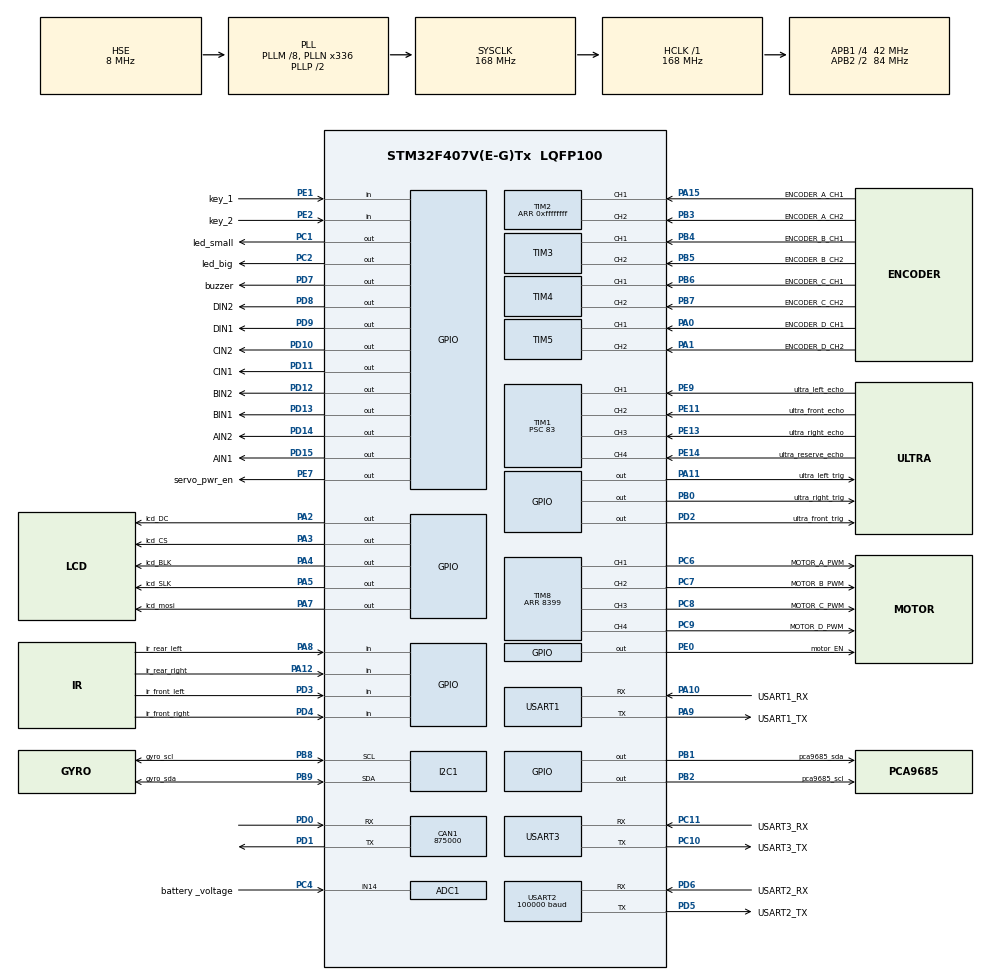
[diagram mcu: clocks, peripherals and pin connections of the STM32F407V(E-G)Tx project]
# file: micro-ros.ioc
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ADC1.Channel-0\#ChannelRegularConversion=ADC_CHANNEL_14
ADC1.NbrOfConversionFlag=1
ADC1.Rank-0\#ChannelRegularConversion=1
ADC1.SamplingTime-0\#ChannelRegularConversion=ADC_SAMPLETIME_15CYCLES
ADC1.master=1
CAN1.BS1=CAN_BS1_1TQ
CAN1.BS2=CAN_BS2_1TQ
CAN1.CalculateBaudRate=875000
CAN1.CalculateTimeBit=1142
CAN1.CalculateTimeQuantum=380.95238095238096
Dma.ADC1.0.Direction=DMA_PERIPH_TO_MEMORY
Dma.ADC1.0.FIFOMode=DMA_FIFOMODE_DISABLE
Dma.ADC1.0.Instance=DMA2_Stream0
Dma.ADC1.0.MemDataAlignment=DMA_MDATAALIGN_HALFWORD
Dma.ADC1.0.MemInc=DMA_MINC_ENABLE
Dma.ADC1.0.Mode=DMA_NORMAL
Dma.ADC1.0.PeriphDataAlignment=DMA_PDATAALIGN_HALFWORD
Dma.ADC1.0.PeriphInc=DMA_PINC_DISABLE
Dma.ADC1.0.Priority=DMA_PRIORITY_LOW
Dma.Request0=ADC1
Dma.Request1=USART3_RX
Dma.Request2=USART3_TX
Dma.USART3_RX.1.Direction=DMA_PERIPH_TO_MEMORY
Dma.USART3_RX.1.FIFOMode=DMA_FIFOMODE_DISABLE
Dma.USART3_RX.1.Instance=DMA1_Stream1
Dma.USART3_RX.1.MemDataAlignment=DMA_MDATAALIGN_BYTE
Dma.USART3_RX.1.MemInc=DMA_MINC_ENABLE
Dma.USART3_RX.1.Mode=DMA_CIRCULAR
Dma.USART3_RX.1.PeriphDataAlignment=DMA_PDATAALIGN_BYTE
Dma.USART3_RX.1.PeriphInc=DMA_PINC_DISABLE
Dma.USART3_RX.1.Priority=DMA_PRIORITY_VERY_HIGH
Dma.USART3_TX.2.Direction=DMA_MEMORY_TO_PERIPH
Dma.USART3_TX.2.FIFOMode=DMA_FIFOMODE_DISABLE
Dma.USART3_TX.2.Instance=DMA1_Stream3
Dma.USART3_TX.2.MemDataAlignment=DMA_MDATAALIGN_BYTE
Dma.USART3_TX.2.MemInc=DMA_MINC_ENABLE
Dma.USART3_TX.2.Mode=DMA_NORMAL
Dma.USART3_TX.2.PeriphDataAlignment=DMA_PDATAALIGN_BYTE
Dma.USART3_TX.2.PeriphInc=DMA_PINC_DISABLE
Dma.USART3_TX.2.Priority=DMA_PRIORITY_VERY_HIGH
FREERTOS.Mutexes01=DataMutex,Dynamic,NULL,Available;PrintMutex,Dynamic,NULL,Available
FREERTOS.Tasks01=defaultTask,24,128,StartDefaultTask,Default,NULL,Dynamic,NULL,NULL;EncoderTask,50,512,StartEncoderTask,As external,NULL,Dynamic,NULL,NULL;MotorPidTask,50,512,StartMotorPidTask,As external,NULL,Dynamic,NULL,NULL;SbusTask,51,512,StartSbusTask,As external,NULL,Dynamic,NULL,NULL;LcdTask,24,512,StartLcdTask,As external,NULL,Dynamic,NULL,NULL;UltrasonicTask,16,256,StartUltrasonicTask,As external,NULL,Dynamic,NULL,NULL;MicroRosTask,24,4000,StartMicroRosTask,Default,NULL,Dynamic,NULL,NULL
FREERTOS.configCHECK_FOR_STACK_OVERFLOW=2
FREERTOS.configENABLE_FPU=1
FREERTOS.configTIMER_TASK_PRIORITY=2
FREERTOS.configTOTAL_HEAP_SIZE=0x10000
FREERTOS.configUSE_PREEMPTION=1
Mcu.Family=STM32F4
Mcu.Name=STM32F407V(E-G)Tx
Mcu.Package=LQFP100
NVIC.DMA1_Stream1_IRQn=true\:5\:0\:false\:false\:true\:true\:false\:true\:true
NVIC.DMA1_Stream3_IRQn=true\:5\:0\:false\:false\:true\:true\:false\:true\:true
NVIC.DMA2_Stream0_IRQn=true\:5\:0\:false\:false\:true\:true\:false\:true\:true
NVIC.I2C1_ER_IRQn=true\:5\:0\:false\:false\:true\:true\:true\:true\:true
NVIC.I2C1_EV_IRQn=true\:5\:0\:false\:false\:true\:true\:true\:true\:true
NVIC.PriorityGroup=NVIC_PRIORITYGROUP_4
NVIC.RCC_IRQn=true\:5\:0\:false\:false\:true\:true\:true\:false\:true
NVIC.TIM2_IRQn=true\:5\:0\:false\:false\:true\:true\:true\:true\:true
NVIC.TIM3_IRQn=true\:5\:0\:false\:false\:true\:true\:true\:true\:true
NVIC.TIM4_IRQn=true\:5\:0\:false\:false\:true\:true\:true\:true\:true
NVIC.TIM5_IRQn=true\:5\:0\:false\:false\:true\:true\:true\:true\:true
NVIC.TIM6_DAC_IRQn=true\:15\:0\:false\:false\:true\:false\:false\:true\:true
NVIC.TIM8_UP_TIM13_IRQn=true\:5\:0\:false\:false\:true\:false\:false\:true\:true
NVIC.TimeBase=TIM6_DAC_IRQn
NVIC.TimeBaseIP=TIM6
NVIC.USART1_IRQn=true\:5\:0\:false\:false\:true\:true\:true\:true\:true
NVIC.USART2_IRQn=true\:5\:0\:false\:false\:true\:true\:true\:true\:true
NVIC.USART3_IRQn=true\:5\:0\:false\:false\:true\:true\:true\:true\:true
PA0-WKUP.GPIO_Label=ENCODER_D_CH1
PA0-WKUP.GPIO_Speed=GPIO_SPEED_FREQ_MEDIUM
PA0-WKUP.Signal=S_TIM5_CH1
PA1.GPIO_Label=ENCODER_D_CH2
PA1.GPIO_Speed=GPIO_SPEED_FREQ_MEDIUM
PA1.Signal=S_TIM5_CH2
PA10.GPIO_Label=USART1_RX
PA10.GPIO_PuPd=GPIO_PULLUP
PA10.GPIO_Speed=GPIO_SPEED_FREQ_MEDIUM
PA10.Mode=Asynchronous
PA10.Signal=USART1_RX
PA11.GPIO_Label=ultra_left_trig
PA11.GPIO_PuPd=GPIO_PULLDOWN
PA11.GPIO_Speed=GPIO_SPEED_FREQ_MEDIUM
PA11.Signal=GPIO_Output
PA12.GPIO_Label=ir_rear_right
PA12.GPIO_PuPd=GPIO_PULLUP
PA12.Signal=GPIO_Input
PA13.Mode=Serial_Wire
PA13.Signal=SYS_JTMS-SWDIO
PA14.Mode=Serial_Wire
PA14.Signal=SYS_JTCK-SWCLK
PA15.GPIO_Label=ENCODER_A_CH1
PA15.GPIO_Speed=GPIO_SPEED_FREQ_MEDIUM
PA15.Signal=S_TIM2_CH1_ETR
PA2.GPIO_Label=lcd_DC
PA2.GPIO_ModeDefaultOutputPP=GPIO_MODE_OUTPUT_PP
PA2.GPIO_PuPd=GPIO_NOPULL
PA2.GPIO_Speed=GPIO_SPEED_FREQ_MEDIUM
PA2.Signal=GPIO_Output
PA3.GPIO_Label=lcd_CS
PA3.GPIO_Speed=GPIO_SPEED_FREQ_MEDIUM
PA3.Signal=GPIO_Output
PA4.GPIO_Label=lcd_BLK
PA4.GPIO_Speed=GPIO_SPEED_FREQ_MEDIUM
PA4.Signal=GPIO_Output
PA5.GPIO_Label=lcd_SLK
PA5.GPIO_Speed=GPIO_SPEED_FREQ_MEDIUM
PA5.Signal=GPIO_Output
PA7.GPIO_Label=lcd_mosi
PA7.GPIO_Speed=GPIO_SPEED_FREQ_MEDIUM
PA7.Signal=GPIO_Output
PA8.GPIO_Label=ir_rear_left
PA8.GPIO_PuPd=GPIO_PULLUP
PA8.Signal=GPIO_Input
PA9.GPIO_Label=USART1_TX
PA9.GPIO_Speed=GPIO_SPEED_FREQ_MEDIUM
PA9.Mode=Asynchronous
PA9.Signal=USART1_TX
PB0.GPIO_Label=ultra_right_trig
PB0.GPIO_PuPd=GPIO_PULLDOWN
PB0.GPIO_Speed=GPIO_SPEED_FREQ_MEDIUM
PB0.Signal=GPIO_Output
PB1.GPIO_Label=pca9685_sda
PB1.GPIO_PuPd=GPIO_NOPULL
PB1.GPIO_Speed=GPIO_SPEED_FREQ_MEDIUM
PB1.PinState=GPIO_PIN_SET
PB1.Signal=GPIO_Output
PB2.GPIO_Label=pca9685_scl
PB2.GPIO_ModeDefaultOutputPP=GPIO_MODE_OUTPUT_PP
PB2.GPIO_PuPd=GPIO_NOPULL
PB2.GPIO_Speed=GPIO_SPEED_FREQ_MEDIUM
PB2.PinState=GPIO_PIN_SET
PB2.Signal=GPIO_Output
PB3.GPIO_Label=ENCODER_A_CH2
PB3.GPIO_Speed=GPIO_SPEED_FREQ_MEDIUM
PB3.Signal=S_TIM2_CH2
PB4.GPIO_Label=ENCODER_B_CH1
PB4.GPIO_Speed=GPIO_SPEED_FREQ_MEDIUM
PB4.Signal=S_TIM3_CH1
PB5.GPIO_Label=ENCODER_B_CH2
PB5.GPIO_Speed=GPIO_SPEED_FREQ_MEDIUM
PB5.Signal=S_TIM3_CH2
PB6.GPIO_Label=ENCODER_C_CH1
PB6.GPIO_Speed=GPIO_SPEED_FREQ_MEDIUM
PB6.Signal=S_TIM4_CH1
PB7.GPIO_Label=ENCODER_C_CH2
PB7.GPIO_Speed=GPIO_SPEED_FREQ_MEDIUM
PB7.Signal=S_TIM4_CH2
PB8.GPIO_Label=gyro_scl
PB8.GPIO_Speed=GPIO_SPEED_FREQ_MEDIUM
PB8.Mode=I2C
PB8.Signal=I2C1_SCL
PB9.GPIO_Label=gyro_sda
PB9.GPIO_Speed=GPIO_SPEED_FREQ_MEDIUM
PB9.Mode=I2C
PB9.Signal=I2C1_SDA
PC1.GPIO_Label=led_small
PC1.GPIO_Speed=GPIO_SPEED_FREQ_MEDIUM
PC1.Signal=GPIO_Output
PC10.GPIO_Label=USART3_TX
PC10.GPIO_Speed=GPIO_SPEED_FREQ_MEDIUM
PC10.Mode=Asynchronous
PC10.Signal=USART3_TX
PC11.GPIO_Label=USART3_RX
PC11.GPIO_PuPd=GPIO_PULLUP
PC11.GPIO_Speed=GPIO_SPEED_FREQ_MEDIUM
PC11.Mode=Asynchronous
PC11.Signal=USART3_RX
PC14-OSC32_IN.Mode=LSE-External-Oscillator
PC14-OSC32_IN.Signal=RCC_OSC32_IN
PC15-OSC32_OUT.Mode=LSE-External-Oscillator
PC15-OSC32_OUT.Signal=RCC_OSC32_OUT
PC2.GPIO_Label=led_big
PC2.GPIO_Speed=GPIO_SPEED_FREQ_MEDIUM
PC2.Signal=GPIO_Output
PC4.GPIO_Label=battery _voltage
PC4.Signal=ADCx_IN14
PC6.GPIO_Label=MOTOR_A_PWM
PC6.GPIO_Speed=GPIO_SPEED_FREQ_HIGH
PC6.Signal=S_TIM8_CH1
PC7.GPIO_Label=MOTOR_B_PWM
PC7.GPIO_Speed=GPIO_SPEED_FREQ_HIGH
PC7.Signal=S_TIM8_CH2
PC8.GPIO_Label=MOTOR_C_PWM
PC8.GPIO_Speed=GPIO_SPEED_FREQ_HIGH
PC8.Signal=S_TIM8_CH3
PC9.GPIO_Label=MOTOR_D_PWM
PC9.GPIO_Speed=GPIO_SPEED_FREQ_HIGH
PC9.Signal=S_TIM8_CH4
PD0.GPIO_Speed=GPIO_SPEED_FREQ_MEDIUM
PD0.Mode=CAN_Activate
PD0.Signal=CAN1_RX
PD1.GPIO_Speed=GPIO_SPEED_FREQ_MEDIUM
PD1.Mode=CAN_Activate
PD1.Signal=CAN1_TX
PD10.GPIO_Label=CIN2
PD10.GPIO_Speed=GPIO_SPEED_FREQ_MEDIUM
PD10.Signal=GPIO_Output
PD11.GPIO_Label=CIN1
PD11.GPIO_Speed=GPIO_SPEED_FREQ_MEDIUM
PD11.Signal=GPIO_Output
PD12.GPIO_Label=BIN2
PD12.GPIO_Speed=GPIO_SPEED_FREQ_MEDIUM
PD12.Signal=GPIO_Output
PD13.GPIO_Label=BIN1
PD13.GPIO_Speed=GPIO_SPEED_FREQ_MEDIUM
PD13.Signal=GPIO_Output
PD14.GPIO_Label=AIN2
PD14.GPIO_Speed=GPIO_SPEED_FREQ_MEDIUM
PD14.Signal=GPIO_Output
PD15.GPIO_Label=AIN1
PD15.GPIO_Speed=GPIO_SPEED_FREQ_MEDIUM
PD15.Signal=GPIO_Output
PD2.GPIO_Label=ultra_front_trig
PD2.GPIO_PuPd=GPIO_PULLDOWN
PD2.GPIO_Speed=GPIO_SPEED_FREQ_MEDIUM
PD2.Signal=GPIO_Output
PD3.GPIO_Label=ir_front_left
PD3.GPIO_PuPd=GPIO_PULLUP
PD3.Signal=GPIO_Input
PD4.GPIO_Label=ir_front_right
PD4.GPIO_PuPd=GPIO_PULLUP
PD4.Signal=GPIO_Input
PD5.GPIO_Label=USART2_TX
PD5.GPIO_Speed=GPIO_SPEED_FREQ_MEDIUM
PD5.Mode=Asynchronous
PD5.Signal=USART2_TX
PD6.GPIO_Label=USART2_RX
PD6.GPIO_PuPd=GPIO_PULLUP
PD6.GPIO_Speed=GPIO_SPEED_FREQ_MEDIUM
PD6.Mode=Asynchronous
PD6.Signal=USART2_RX
PD7.GPIO_Label=buzzer
PD7.GPIO_ModeDefaultOutputPP=GPIO_MODE_OUTPUT_OD
PD7.GPIO_PuPd=GPIO_NOPULL
PD7.GPIO_Speed=GPIO_SPEED_FREQ_MEDIUM
PD7.PinState=GPIO_PIN_SET
PD7.Signal=GPIO_Output
PD8.GPIO_Label=DIN2
PD8.GPIO_Speed=GPIO_SPEED_FREQ_MEDIUM
PD8.Signal=GPIO_Output
PD9.GPIO_Label=DIN1
PD9.GPIO_Speed=GPIO_SPEED_FREQ_MEDIUM
PD9.Signal=GPIO_Output
PE0.GPIO_Label=motor_EN
PE0.GPIO_Speed=GPIO_SPEED_FREQ_MEDIUM
PE0.Signal=GPIO_Output
PE1.GPIO_Label=key_1
PE1.GPIO_PuPd=GPIO_PULLUP
PE1.Signal=GPIO_Input
PE11.GPIO_Label=ultra_front_echo
PE11.GPIO_Speed=GPIO_SPEED_FREQ_HIGH
PE11.Signal=S_TIM1_CH2
PE13.GPIO_Label=ultra_right_echo
PE13.GPIO_Speed=GPIO_SPEED_FREQ_HIGH
PE13.Signal=S_TIM1_CH3
PE14.GPIO_Label=ultra_reserve_echo
PE14.GPIO_Speed=GPIO_SPEED_FREQ_HIGH
PE14.Signal=S_TIM1_CH4
PE2.GPIO_Label=key_2
PE2.GPIO_PuPd=GPIO_PULLUP
PE2.Signal=GPIO_Input
PE7.GPIO_Label=servo_pwr_en
PE7.GPIO_Speed=GPIO_SPEED_FREQ_MEDIUM
PE7.Signal=GPIO_Output
PE9.GPIO_Label=ultra_left_echo
PE9.GPIO_Speed=GPIO_SPEED_FREQ_HIGH
PE9.Signal=S_TIM1_CH1
PH0-OSC_IN.Mode=HSE-External-Oscillator
PH0-OSC_IN.Signal=RCC_OSC_IN
PH1-OSC_OUT.Mode=HSE-External-Oscillator
PH1-OSC_OUT.Signal=RCC_OSC_OUT
ProjectManager.HeapSize=0x200
ProjectManager.StackSize=0x400
ProjectManager.TargetToolchain=Makefile
RCC.48MHZClocksFreq_Value=84000000
RCC.AHBFreq_Value=168000000
RCC.APB1CLKDivider=RCC_HCLK_DIV4
RCC.APB1Freq_Value=42000000
RCC.APB1TimFreq_Value=84000000
RCC.APB2CLKDivider=RCC_HCLK_DIV2
RCC.APB2Freq_Value=84000000
RCC.APB2TimFreq_Value=168000000
RCC.CortexFreq_Value=168000000
RCC.HCLKFreq_Value=168000000
RCC.HSE_VALUE=8000000
RCC.HSI_VALUE=16000000
RCC.PLLM=8
RCC.PLLN=336
RCC.PLLSourceVirtual=RCC_PLLSOURCE_HSE
RCC.RCC_RTC_Clock_Source=RCC_RTCCLKSOURCE_LSE
RCC.RCC_RTC_Clock_SourceVirtual=RCC_RTCCLKSOURCE_LSE
RCC.SYSCLKFreq_VALUE=168000000
RCC.SYSCLKSource=RCC_SYSCLKSOURCE_PLLCLK
RCC.VCOOutputFreq_Value=336000000
SH.ADCx_IN14.0=ADC1_IN14,IN14
SH.S_TIM1_CH1.0=TIM1_CH1,Input_Capture1_from_TI1
SH.S_TIM1_CH2.0=TIM1_CH2,Input_Capture2_from_TI2
SH.S_TIM1_CH3.0=TIM1_CH3,Input_Capture3_from_TI3
SH.S_TIM1_CH4.0=TIM1_CH4,Input_Capture4_from_TI4
SH.S_TIM2_CH1_ETR.0=TIM2_CH1,Encoder_Interface
SH.S_TIM2_CH2.0=TIM2_CH2,Encoder_Interface
SH.S_TIM3_CH1.0=TIM3_CH1,Encoder_Interface
SH.S_TIM3_CH2.0=TIM3_CH2,Encoder_Interface
SH.S_TIM4_CH1.0=TIM4_CH1,Encoder_Interface
SH.S_TIM4_CH2.0=TIM4_CH2,Encoder_Interface
SH.S_TIM5_CH1.0=TIM5_CH1,Encoder_Interface
SH.S_TIM5_CH2.0=TIM5_CH2,Encoder_Interface
SH.S_TIM8_CH1.0=TIM8_CH1,PWM Generation1 CH1
SH.S_TIM8_CH2.0=TIM8_CH2,PWM Generation2 CH2
SH.S_TIM8_CH3.0=TIM8_CH3,PWM Generation3 CH3
SH.S_TIM8_CH4.0=TIM8_CH4,PWM Generation4 CH4
TIM1.Channel-Input_Capture1_from_TI1=TIM_CHANNEL_1
TIM1.Channel-Input_Capture2_from_TI2=TIM_CHANNEL_2
TIM1.Channel-Input_Capture3_from_TI3=TIM_CHANNEL_3
TIM1.Channel-Input_Capture4_from_TI4=TIM_CHANNEL_4
TIM1.ICPolarity_CH1=TIM_INPUTCHANNELPOLARITY_BOTHEDGE
TIM1.ICPolarity_CH2=TIM_INPUTCHANNELPOLARITY_BOTHEDGE
TIM1.ICPolarity_CH3=TIM_INPUTCHANNELPOLARITY_BOTHEDGE
TIM1.ICPolarity_CH4=TIM_INPUTCHANNELPOLARITY_BOTHEDGE
TIM1.Prescaler=83
TIM2.AutoReloadPreload=TIM_AUTORELOAD_PRELOAD_ENABLE
TIM2.EncoderMode=TIM_ENCODERMODE_TI12
TIM2.IC1Filter=5
TIM2.IC2Filter=5
TIM2.Period=0xffffffff
TIM3.EncoderMode=TIM_ENCODERMODE_TI12
TIM3.IC1Filter=5
TIM3.IC2Filter=5
TIM4.EncoderMode=TIM_ENCODERMODE_TI12
TIM4.IC1Filter=5
TIM4.IC2Filter=5
TIM5.EncoderMode=TIM_ENCODERMODE_TI12
TIM5.IC1Filter=5
TIM5.IC2Filter=5
TIM8.AutoReloadPreload=TIM_AUTORELOAD_PRELOAD_ENABLE
TIM8.Channel-PWM\ Generation1\ CH1=TIM_CHANNEL_1
TIM8.Channel-PWM\ Generation2\ CH2=TIM_CHANNEL_2
TIM8.Channel-PWM\ Generation3\ CH3=TIM_CHANNEL_3
TIM8.Channel-PWM\ Generation4\ CH4=TIM_CHANNEL_4
TIM8.Period=8399
USART1.VirtualMode=VM_ASYNC
USART2.BaudRate=100000
USART2.Parity=PARITY_EVEN
USART2.StopBits=STOPBITS_2
USART2.VirtualMode=VM_ASYNC
USART3.VirtualMode=VM_ASYNC
VP_FREERTOS_VS_CMSIS_V2.Mode=CMSIS_V2
VP_RTC_VS_RTC_Activate.Mode=RTC_Enabled
VP_SYS_VS_tim6.Mode=TIM6
board=custom

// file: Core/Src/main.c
/* USER CODE BEGIN Header */
/**
  ******************************************************************************
  * @file           : main.c
  * @brief          : Main program body
  ******************************************************************************
  * @attention
  *
  * Copyright (c) 2026 STMicroelectronics.
  * All rights reserved.
  *
  * This software is licensed under terms that can be found in the LICENSE file
  * in the root directory of this software component.
  * If no LICENSE file comes with this software, it is provided AS-IS.
  *
  ******************************************************************************
  */
/* USER CODE END Header */
#include "main.h"
#include "cmsis_os.h"
#include "adc.h"
#include "can.h"
#include "dma.h"
#include "i2c.h"
#include "rtc.h"
#include "tim.h"
#include "usart.h"
#include "gpio.h"

/* USER CODE BEGIN Includes */
#include <stdarg.h>
#include <stdio.h>

/* USER CODE END Includes */

void SystemClock_Config(void);
void MX_FREERTOS_Init(void);

int main(void)
{

  /* MCU Configuration--------------------------------------------------------*/

  /* Reset of all peripherals, Initializes the Flash interface and the Systick. */
  HAL_Init();

  /* Configure the system clock */
  SystemClock_Config();

  /* Initialize all configured peripherals */
  MX_GPIO_Init();
  MX_DMA_Init();
  MX_TIM2_Init();
  MX_ADC1_Init();
  MX_CAN1_Init();
  MX_USART2_UART_Init();
  MX_TIM3_Init();
  MX_TIM4_Init();
  MX_TIM5_Init();
  MX_TIM8_Init();
  MX_USART1_UART_Init();
  MX_USART3_UART_Init();
  MX_RTC_Init();
  MX_I2C1_Init();
  MX_TIM1_Init();
  /* USER CODE BEGIN 2 */
  Debug_Print("USART3 printf test OK\r\n");
  Debug_Print("USART3: PC10 TX, PC11 RX, 115200 8N1\r\n");

  /* USER CODE END 2 */

  /* Init scheduler */
  osKernelInitialize();  /* Call init function for freertos objects (in cmsis_os2.c) */
  MX_FREERTOS_Init();

  /* Start scheduler */
  osKernelStart();

  /* We should never get here as control is now taken by the scheduler */

  /* Infinite loop */
  while (1)
  {

  }
}

void SystemClock_Config(void)
{
  RCC_OscInitTypeDef RCC_OscInitStruct = {0};
  RCC_ClkInitTypeDef RCC_ClkInitStruct = {0};

  /** Configure the main internal regulator output voltage
  */
  __HAL_RCC_PWR_CLK_ENABLE();
  __HAL_PWR_VOLTAGESCALING_CONFIG(PWR_REGULATOR_VOLTAGE_SCALE1);

  /** Initializes the RCC Oscillators according to the specified parameters
  * in the RCC_OscInitTypeDef structure.
  */
  RCC_OscInitStruct.OscillatorType = RCC_OSCILLATORTYPE_HSE|RCC_OSCILLATORTYPE_LSE;
  RCC_OscInitStruct.HSEState = RCC_HSE_ON;
  RCC_OscInitStruct.LSEState = RCC_LSE_ON;
  RCC_OscInitStruct.PLL.PLLState = RCC_PLL_ON;
  RCC_OscInitStruct.PLL.PLLSource = RCC_PLLSOURCE_HSE;
  RCC_OscInitStruct.PLL.PLLM = 8;
  RCC_OscInitStruct.PLL.PLLN = 336;
  RCC_OscInitStruct.PLL.PLLP = RCC_PLLP_DIV2;
  RCC_OscInitStruct.PLL.PLLQ = 4;
  if (HAL_RCC_OscConfig(&RCC_OscInitStruct) != HAL_OK)
  {
    Error_Handler();
  }

  /** Initializes the CPU, AHB and APB buses clocks
  */
  RCC_ClkInitStruct.ClockType = RCC_CLOCKTYPE_HCLK|RCC_CLOCKTYPE_SYSCLK
                              |RCC_CLOCKTYPE_PCLK1|RCC_CLOCKTYPE_PCLK2;
  RCC_ClkInitStruct.SYSCLKSource = RCC_SYSCLKSOURCE_PLLCLK;
  RCC_ClkInitStruct.AHBCLKDivider = RCC_SYSCLK_DIV1;
  RCC_ClkInitStruct.APB1CLKDivider = RCC_HCLK_DIV4;
  RCC_ClkInitStruct.APB2CLKDivider = RCC_HCLK_DIV2;

  if (HAL_RCC_ClockConfig(&RCC_ClkInitStruct, FLASH_LATENCY_5) != HAL_OK)
  {
    Error_Handler();
  }
}

/* USER CODE BEGIN 4 */
void Debug_Print(const char *format, ...)
{
  char buffer[256];
  va_list args;
  int length;

  va_start(args, format);
  length = vsnprintf(buffer, sizeof(buffer), format, args);
  va_end(args);

  if (length > 0)
  {
    if (length >= (int)sizeof(buffer))
    {
      length = sizeof(buffer) - 1;
    }
    HAL_UART_Transmit(&huart3, (uint8_t *)buffer, (uint16_t)length, 1000);
  }
}

/* USER CODE END 4 */

void HAL_TIM_PeriodElapsedCallback(TIM_HandleTypeDef *htim)
{
  if (htim->Instance == TIM6)
  {
    HAL_IncTick();
  }
}

void Error_Handler(void)
{
  __disable_irq();
  while (1)
  {
  }
}

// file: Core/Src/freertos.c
/* USER CODE BEGIN Header */
/**
  ******************************************************************************
  * File Name          : freertos.c
  * Description        : Code for freertos applications
  ******************************************************************************
  * @attention
  *
  * Copyright (c) 2026 STMicroelectronics.
  * All rights reserved.
  *
  * This software is licensed under terms that can be found in the LICENSE file
  * in the root directory of this software component.
  * If no LICENSE file comes with this software, it is provided AS-IS.
  *
  ******************************************************************************
  */
/* USER CODE END Header */

#include "FreeRTOS.h"
#include "task.h"
#include "main.h"
#include "cmsis_os.h"
#include "usart.h"

/* USER CODE BEGIN Includes */
#include <rcl/rcl.h>
#include <rclc/rclc.h>
#include <rmw_microros/rmw_microros.h>
#include <uxr/client/transport.h>
#include <rmw_microxrcedds_c/config.h>
#include <std_msgs/msg/int32.h>

bool cubemx_transport_open(struct uxrCustomTransport *transport);
bool cubemx_transport_close(struct uxrCustomTransport *transport);
size_t cubemx_transport_write(struct uxrCustomTransport *transport, const uint8_t *buf,
                               size_t len, uint8_t *err);
size_t cubemx_transport_read(struct uxrCustomTransport *transport, uint8_t *buf,
                              size_t len, int timeout, uint8_t *err);

void *microros_allocate(size_t size, void *state);
void microros_deallocate(void *pointer, void *state);
void *microros_reallocate(void *pointer, size_t size, void *state);
void *microros_zero_allocate(size_t number_of_elements, size_t size_of_element, void *state);

/* USER CODE END Includes */

/* Definitions for defaultTask */
osThreadId_t defaultTaskHandle;
const osThreadAttr_t defaultTask_attributes = {
  .name = "defaultTask",
  .stack_size = 128 * 4,
  .priority = (osPriority_t) osPriorityNormal,
};
/* Definitions for EncoderTask */
osThreadId_t EncoderTaskHandle;
const osThreadAttr_t EncoderTask_attributes = {
  .name = "EncoderTask",
  .stack_size = 512 * 4,
  .priority = (osPriority_t) osPriorityRealtime2,
};
/* Definitions for MotorPidTask */
osThreadId_t MotorPidTaskHandle;
const osThreadAttr_t MotorPidTask_attributes = {
  .name = "MotorPidTask",
  .stack_size = 512 * 4,
  .priority = (osPriority_t) osPriorityRealtime2,
};
/* Definitions for SbusTask */
osThreadId_t SbusTaskHandle;
const osThreadAttr_t SbusTask_attributes = {
  .name = "SbusTask",
  .stack_size = 512 * 4,
  .priority = (osPriority_t) osPriorityRealtime3,
};
/* Definitions for LcdTask */
osThreadId_t LcdTaskHandle;
const osThreadAttr_t LcdTask_attributes = {
  .name = "LcdTask",
  .stack_size = 512 * 4,
  .priority = (osPriority_t) osPriorityNormal,
};
/* Definitions for UltrasonicTask */
osThreadId_t UltrasonicTaskHandle;
const osThreadAttr_t UltrasonicTask_attributes = {
  .name = "UltrasonicTask",
  .stack_size = 256 * 4,
  .priority = (osPriority_t) osPriorityBelowNormal,
};
/* Definitions for MicroRosTask */
osThreadId_t MicroRosTaskHandle;
const osThreadAttr_t MicroRosTask_attributes = {
  .name = "MicroRosTask",
  .stack_size = 4000 * 4,
  .priority = (osPriority_t) osPriorityNormal,
};
/* Definitions for DataMutex */
osMutexId_t DataMutexHandle;
const osMutexAttr_t DataMutex_attributes = {
  .name = "DataMutex"
};
/* Definitions for PrintMutex */
osMutexId_t PrintMutexHandle;
const osMutexAttr_t PrintMutex_attributes = {
  .name = "PrintMutex"
};

void StartDefaultTask(void *argument);
extern void StartEncoderTask(void *argument);
extern void StartMotorPidTask(void *argument);
extern void StartSbusTask(void *argument);
extern void StartLcdTask(void *argument);
extern void StartUltrasonicTask(void *argument);
void StartMicroRosTask(void *argument);

void MX_FREERTOS_Init(void); /* (MISRA C 2004 rule 8.1) */

/* Hook prototypes */
void vApplicationStackOverflowHook(xTaskHandle xTask, signed char *pcTaskName);

/* USER CODE BEGIN 4 */
void vApplicationStackOverflowHook(xTaskHandle xTask, signed char *pcTaskName)
{
   /* Run time stack overflow checking is performed if
   configCHECK_FOR_STACK_OVERFLOW is defined to 1 or 2. This hook function is
   called if a stack overflow is detected. */
}
/* USER CODE END 4 */

void MX_FREERTOS_Init(void) {
  /* Create the mutex(es) */
  /* creation of DataMutex */
  DataMutexHandle = osMutexNew(&DataMutex_attributes);

  /* creation of PrintMutex */
  PrintMutexHandle = osMutexNew(&PrintMutex_attributes);

  /* Create the thread(s) */
  /* creation of defaultTask */
  defaultTaskHandle = osThreadNew(StartDefaultTask, NULL, &defaultTask_attributes);

  /* creation of EncoderTask */
 // EncoderTaskHandle = osThreadNew(StartEncoderTask, NULL, &EncoderTask_attributes);

  /* creation of MotorPidTask */
 // MotorPidTaskHandle = osThreadNew(StartMotorPidTask, NULL, &MotorPidTask_attributes);

  /* creation of SbusTask */
 // SbusTaskHandle = osThreadNew(StartSbusTask, NULL, &SbusTask_attributes);

  /* creation of LcdTask */
 // LcdTaskHandle = osThreadNew(StartLcdTask, NULL, &LcdTask_attributes);

  /* creation of UltrasonicTask */
// UltrasonicTaskHandle = osThreadNew(StartUltrasonicTask, NULL, &UltrasonicTask_attributes);

  /* creation of MicroRosTask */
  MicroRosTaskHandle = osThreadNew(StartMicroRosTask, NULL, &MicroRosTask_attributes);

}

void StartDefaultTask(void *argument)
{
  for(;;)
  {
    osDelay(1);
  }
}

void StartMicroRosTask(void *argument)
{
  /* USER CODE BEGIN StartMicroRosTask */
  rcl_allocator_t allocator;
  rclc_support_t support;
  rcl_node_t node;
  rcl_publisher_t publisher;
  std_msgs__msg__Int32 message;
  rcl_ret_t ret;

  rmw_uros_set_custom_transport(
      true,
      (void *)&huart3,
      cubemx_transport_open,
      cubemx_transport_close,
      cubemx_transport_write,
      cubemx_transport_read);

  allocator = rcutils_get_zero_initialized_allocator();
  allocator.allocate = microros_allocate;
  allocator.deallocate = microros_deallocate;
  allocator.reallocate = microros_reallocate;
  allocator.zero_allocate = microros_zero_allocate;

  if (!rcutils_set_default_allocator(&allocator))
  {
    for (;;)
    {
      osDelay(1000);
    }
  }

  allocator = rcl_get_default_allocator();
  ret = rclc_support_init(&support, 0, NULL, &allocator);
  if (ret != RCL_RET_OK)
  {
    for (;;)
    {
      osDelay(1000);
    }
  }

  ret = rclc_node_init_default(&node, "stm32f407_node", "", &support);
  if (ret != RCL_RET_OK)
  {
    for (;;)
    {
      osDelay(1000);
    }
  }

  ret = rclc_publisher_init_default(
      &publisher,
      &node,
      ROSIDL_GET_MSG_TYPE_SUPPORT(std_msgs, msg, Int32),
      "stm32f407_counter");
  if (ret != RCL_RET_OK)
  {
    for (;;)
    {
      osDelay(1000);
    }
  }

  message.data = 0;
  for(;;)
  {
    (void)rcl_publish(&publisher, &message, NULL);
    message.data++;
    osDelay(1000);
  }
  /* USER CODE END StartMicroRosTask */
}
